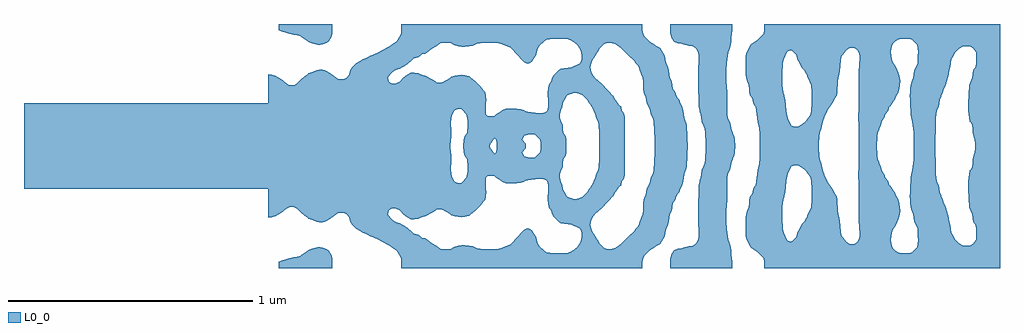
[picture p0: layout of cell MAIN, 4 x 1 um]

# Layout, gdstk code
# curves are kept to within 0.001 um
import gdstk
lib = gdstk.Library(unit=1e-6, precision=1e-09)
def R(c, l, rs):  # rectangles x0, y0, x1, y1
    for r in rs: c.add(gdstk.rectangle(r[:2], r[2:], *l))
def P(c, l, *ps):  # polygons
    for p in ps: c.add(gdstk.Polygon(p, *l))
L0_0 = (0, 0)

main_y = lib.new_cell('MAIN_Y')
R(main_y, L0_0, [(0,0,1,0.175)])
P(main_y, L0_0, [(1.214,0.415),(1.225,0.417),(1.24,0.423),(1.248,0.43),(1.259,0.445),(1.263,0.46),(1.264,0.5),(1.044,0.5),(1.045,0.474),(1.06,0.468),(1.088,0.46),(1.135,0.449),(1.165,0.428),(1.18,0.421),(1.195,0.416),(1.21,0.414)],
  [(2.912,0.025),(2.91,0.04),(2.899,0.07),(2.892,0.1),(2.885,0.115),(2.883,0.13),(2.883,0.19),(2.879,0.265),(2.879,0.31),(2.881,0.34),(2.884,0.37),(2.896,0.415),(2.898,0.43),(2.902,0.475),(2.902,0.5),(2.648,0.5),(2.649,0.46),(2.653,0.445),(2.662,0.43),(2.68,0.422),(2.74,0.408),(2.753,0.4),(2.763,0.385),(2.766,0.355),(2.763,0.31),(2.763,0.25),(2.766,0.16),(2.778,0.1),(2.79,0.07),(2.795,0),(2.914,0)],
  [(1.3,0.273),(1.285,0.276),(1.255,0.299),(1.24,0.307),(1.225,0.313),(1.21,0.313),(1.165,0.298),(1.15,0.286),(1.12,0.257),(1.105,0.248),(1.09,0.248),(1.075,0.257),(1.06,0.27),(1.03,0.288),(1,0.295),(1,0),(1.747,0),(1.751,0.04),(1.748,0.1),(1.756,0.13),(1.765,0.147),(1.78,0.152),(1.795,0.15),(1.807,0.137),(1.807,0.289),(1.795,0.291),(1.78,0.29),(1.75,0.284),(1.735,0.272),(1.72,0.263),(1.705,0.259),(1.69,0.262),(1.675,0.272),(1.645,0.288),(1.63,0.291),(1.615,0.299),(1.585,0.3),(1.574,0.295),(1.555,0.28),(1.54,0.264),(1.525,0.257),(1.51,0.256),(1.495,0.264),(1.491,0.28),(1.501,0.295),(1.51,0.303),(1.525,0.312),(1.54,0.317),(1.57,0.335),(1.574,0.34),(1.6,0.36),(1.615,0.364),(1.63,0.376),(1.645,0.379),(1.66,0.391),(1.69,0.409),(1.705,0.421),(1.72,0.423),(1.75,0.421),(1.765,0.412),(1.78,0.408),(1.795,0.406),(1.807,0.407),(1.807,0.5),(1.547,0.5),(1.546,0.46),(1.525,0.428),(1.48,0.398),(1.45,0.382),(1.435,0.377),(1.39,0.356),(1.362,0.34),(1.345,0.322),(1.338,0.31),(1.334,0.295),(1.323,0.28),(1.315,0.275)],
  [(1.807,0.04),(1.803,0.025),(1.801,0),(1.807,0)],
  [(2.071,0.34),(2.08,0.345),(2.097,0.37),(2.105,0.4),(2.116,0.415),(2.14,0.436),(2.185,0.44),(2.23,0.437),(2.245,0.432),(2.249,0.429),(2.249,0.5),(1.807,0.5),(1.807,0.407),(1.84,0.41),(1.855,0.419),(1.87,0.422),(1.915,0.423),(1.945,0.421),(1.96,0.417),(1.99,0.405),(2.005,0.393),(2.026,0.37),(2.037,0.355),(2.05,0.344),(2.065,0.337)],
  [(1.911,0.01),(1.93,0.031),(1.936,0.025),(1.937,0),(2.057,0),(2.057,0.01),(2.042,0.025),(2.048,0.04),(2.05,0.042),(2.065,0.047),(2.08,0.048),(2.095,0.047),(2.116,0.025),(2.118,0),(2.223,0),(2.22,0.04),(2.211,0.055),(2.207,0.085),(2.196,0.115),(2.195,0.13),(2.199,0.145),(2.206,0.16),(2.208,0.175),(2.225,0.205),(2.23,0.21),(2.249,0.216),(2.249,0.325),(2.23,0.32),(2.2,0.317),(2.185,0.305),(2.164,0.28),(2.16,0.265),(2.15,0.25),(2.147,0.22),(2.148,0.16),(2.145,0.145),(2.14,0.14),(2.125,0.135),(2.11,0.134),(2.065,0.14),(2.05,0.146),(2.02,0.152),(1.975,0.152),(1.96,0.147),(1.945,0.137),(1.93,0.124),(1.915,0.121),(1.9,0.122),(1.893,0.13),(1.892,0.145),(1.894,0.19),(1.891,0.22),(1.87,0.244),(1.84,0.273),(1.825,0.285),(1.807,0.289),(1.807,0.137),(1.813,0.13),(1.817,0.115),(1.818,0.1),(1.816,0.055),(1.807,0.04),(1.807,0),(1.909,0)],
  [(2.462,0.055),(2.463,0.085),(2.46,0.13),(2.45,0.145),(2.447,0.16),(2.434,0.175),(2.414,0.205),(2.395,0.227),(2.34,0.28),(2.328,0.295),(2.32,0.325),(2.324,0.34),(2.331,0.355),(2.342,0.37),(2.359,0.4),(2.365,0.407),(2.38,0.42),(2.395,0.423),(2.41,0.422),(2.425,0.417),(2.44,0.407),(2.5,0.349),(2.52,0.325),(2.535,0.28),(2.54,0.22),(2.551,0.19),(2.553,0.175),(2.567,0.145),(2.569,0.13),(2.577,0.115),(2.581,0.1),(2.586,0.025),(2.586,0),(2.72,0),(2.716,0.085),(2.706,0.115),(2.702,0.145),(2.698,0.16),(2.689,0.175),(2.685,0.19),(2.674,0.205),(2.669,0.22),(2.659,0.235),(2.654,0.265),(2.647,0.28),(2.639,0.325),(2.632,0.34),(2.625,0.37),(2.617,0.385),(2.605,0.402),(2.562,0.43),(2.545,0.446),(2.537,0.46),(2.534,0.475),(2.534,0.5),(2.249,0.5),(2.249,0.429),(2.26,0.422),(2.278,0.4),(2.283,0.385),(2.285,0.37),(2.285,0.355),(2.279,0.34),(2.249,0.325),(2.249,0.216),(2.26,0.218),(2.29,0.208),(2.309,0.19),(2.316,0.175),(2.32,0.171),(2.336,0.145),(2.342,0.13),(2.345,0.115),(2.353,0.1),(2.356,0.085),(2.358,0.055),(2.358,0),(2.462,0)],
  [(2.965,0.265),(2.97,0.25),(2.973,0.22),(2.977,0.205),(2.986,0.19),(2.989,0.175),(2.999,0.16),(3.002,0.145),(3.007,0.1),(3.011,0.085),(3.015,0.055),(3.016,0),(3.257,0),(3.261,0.055),(3.267,0.07),(3.273,0.1),(3.292,0.145),(3.313,0.175),(3.32,0.19),(3.33,0.205),(3.333,0.22),(3.336,0.265),(3.342,0.295),(3.348,0.355),(3.352,0.37),(3.37,0.393),(3.385,0.402),(3.4,0.403),(3.415,0.394),(3.422,0.385),(3.425,0.37),(3.422,0.31),(3.422,0.175),(3.42,0.13),(3.422,0.085),(3.422,0),(3.494,0),(3.496,0.025),(3.496,0.5),(3.034,0.5),(3.034,0.475),(3.031,0.46),(3.01,0.438),(2.979,0.415),(2.963,0.385),(2.959,0.37),(2.958,0.355),(2.958,0.31),(2.961,0.28),(3.107,0.28),(3.11,0.34),(3.113,0.355),(3.119,0.37),(3.126,0.385),(3.13,0.389),(3.145,0.392),(3.155,0.385),(3.166,0.37),(3.169,0.355),(3.179,0.34),(3.185,0.325),(3.207,0.295),(3.226,0.25),(3.228,0.22),(3.229,0.175),(3.227,0.145),(3.224,0.13),(3.215,0.115),(3.205,0.103),(3.19,0.09),(3.175,0.081),(3.16,0.078),(3.145,0.084),(3.13,0.114),(3.125,0.13),(3.123,0.145),(3.12,0.19),(3.111,0.22),(3.107,0.28),(2.961,0.28)],
  [(3.499,0.055),(3.512,0.085),(3.515,0.1),(3.526,0.115),(3.529,0.13),(3.541,0.145),(3.547,0.16),(3.568,0.19),(3.584,0.22),(3.588,0.235),(3.591,0.265),(3.586,0.295),(3.572,0.325),(3.563,0.34),(3.557,0.355),(3.554,0.37),(3.554,0.4),(3.558,0.415),(3.571,0.43),(3.58,0.436),(3.595,0.44),(3.625,0.439),(3.64,0.435),(3.66,0.415),(3.664,0.385),(3.662,0.34),(3.657,0.325),(3.649,0.31),(3.644,0.28),(3.638,0.265),(3.632,0.235),(3.632,0.175),(3.635,0.13),(3.645,0.07),(3.647,0),(3.734,0),(3.738,0.13),(3.741,0.145),(3.748,0.16),(3.754,0.19),(3.766,0.22),(3.77,0.235),(3.778,0.25),(3.793,0.31),(3.801,0.355),(3.817,0.385),(3.835,0.401),(3.85,0.408),(3.865,0.409),(3.88,0.407),(3.89,0.4),(3.902,0.385),(3.903,0.355),(3.9,0.325),(3.89,0.31),(3.886,0.28),(3.874,0.25),(3.869,0.175),(3.873,0.115),(3.877,0.1),(3.88,0.097),(3.886,0.085),(3.889,0.055),(3.896,0.025),(3.899,0),(4,0),(4,0.5),(3.496,0.5),(3.496,0.025)])

main = lib.new_cell('MAIN')
main.add(gdstk.Reference(main_y, (0,0)))
main.add(gdstk.Reference(main_y, (0,0), x_reflection=True))

lib.write_gds('MAIN.gds')
